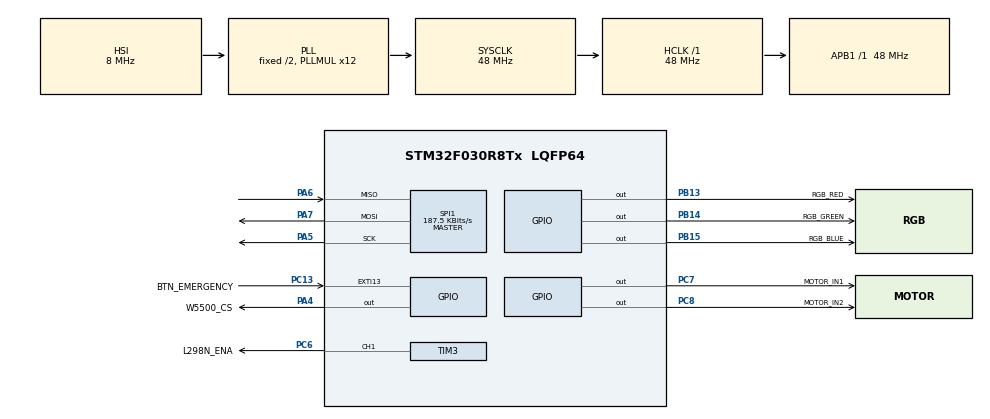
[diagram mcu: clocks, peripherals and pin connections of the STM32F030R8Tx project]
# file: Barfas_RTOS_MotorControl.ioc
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FREERTOS.Queues01=Queue_NetCmd,3,uint8_t,0,Dynamic,NULL,NULL
FREERTOS.Tasks01=Task_Dispatch,3,128,StartMotorTask,Default,NULL,Dynamic,NULL,NULL;Task_NetComm,0,128,StartNetworkTask,Default,NULL,Dynamic,NULL,NULL;Task_DriveRight,2,128,StartTask03,Default,NULL,Dynamic,NULL,NULL;Task_DriveLeft,-2,128,StartTask04,Default,NULL,Dynamic,NULL,NULL;Task_DriveRamp,2,128,StartTask05,Default,NULL,Dynamic,NULL,NULL
FREERTOS.configTOTAL_HEAP_SIZE=4096
Mcu.Family=STM32F0
Mcu.Name=STM32F030R8Tx
Mcu.Package=LQFP64
NVIC.EXTI4_15_IRQn=true\:3\:0\:false\:false\:true\:true\:true\:true\:true
NVIC.TIM1_BRK_UP_TRG_COM_IRQn=true\:3\:0\:false\:false\:true\:false\:false\:true\:true
NVIC.TimeBase=TIM1_BRK_UP_TRG_COM_IRQn
NVIC.TimeBaseIP=TIM1
PA13.GPIO_Label=TMS
PA13.Mode=Serial_Wire
PA13.Signal=SYS_SWDIO
PA14.GPIO_Label=TCK
PA14.Mode=Serial_Wire
PA14.Signal=SYS_SWCLK
PA4.GPIO_Label=W5500_CS
PA4.PinState=GPIO_PIN_SET
PA4.Signal=GPIO_Output
PA5.Mode=Full_Duplex_Master
PA5.Signal=SPI1_SCK
PA6.Mode=Full_Duplex_Master
PA6.Signal=SPI1_MISO
PA7.Mode=Full_Duplex_Master
PA7.Signal=SPI1_MOSI
PB13.GPIO_Label=RGB_RED
PB13.Signal=GPIO_Output
PB14.GPIO_Label=RGB_GREEN
PB14.Signal=GPIO_Output
PB15.GPIO_Label=RGB_BLUE
PB15.GPIO_Speed=GPIO_SPEED_FREQ_HIGH
PB15.Signal=GPIO_Output
PC13.GPIO_Label=BTN_EMERGENCY
PC13.GPIO_ModeDefaultEXTI=GPIO_MODE_IT_FALLING
PC13.GPIO_PuPd=GPIO_PULLUP
PC13.Signal=GPXTI13
PC14-OSC32_IN.Mode=LSE-External-Oscillator
PC14-OSC32_IN.Signal=RCC_OSC32_IN
PC15-OSC32_OUT.Mode=LSE-External-Oscillator
PC15-OSC32_OUT.Signal=RCC_OSC32_OUT
PC6.GPIO_Label=L298N_ENA
PC6.Signal=S_TIM3_CH1
PC7.GPIO_Label=MOTOR_IN1
PC7.GPIO_PuPd=GPIO_PULLDOWN
PC7.Signal=GPIO_Output
PC8.GPIO_Label=MOTOR_IN2
PC8.GPIO_PuPd=GPIO_PULLDOWN
PC8.Signal=GPIO_Output
PF0-OSC_IN.Mode=HSE-External-Clock-Source
PF0-OSC_IN.Signal=RCC_OSC_IN
PF1-OSC_OUT.Signal=RCC_OSC_OUT
ProjectManager.HeapSize=0x200
ProjectManager.StackSize=0x400
ProjectManager.TargetToolchain=STM32CubeIDE
RCC.AHBFreq_Value=48000000
RCC.APB1Freq_Value=48000000
RCC.APB1TimFreq_Value=48000000
RCC.HCLKFreq_Value=48000000
RCC.PLLMUL=RCC_PLL_MUL12
RCC.SYSCLKFreq_VALUE=48000000
RCC.SYSCLKSource=RCC_SYSCLKSOURCE_PLLCLK
SH.S_TIM3_CH1.0=TIM3_CH1,PWM Generation1 CH1
SPI1.BaudRatePrescaler=SPI_BAUDRATEPRESCALER_256
SPI1.CalculateBaudRate=187.5 KBits/s
SPI1.DataSize=SPI_DATASIZE_8BIT
SPI1.Direction=SPI_DIRECTION_2LINES
SPI1.Mode=SPI_MODE_MASTER
SPI1.VirtualType=VM_MASTER
TIM3.Channel-PWM\ Generation1\ CH1=TIM_CHANNEL_1
TIM3.Period=1000-1
TIM3.Prescaler=48-1
VP_FREERTOS_VS_CMSIS_V1.Mode=CMSIS_V1
VP_SYS_VS_tim1.Mode=TIM1
VP_TIM3_VS_ClockSourceINT.Mode=Internal
board=NUCLEO-F030R8

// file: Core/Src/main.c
/* USER CODE BEGIN Header */
/**
 ******************************************************************************
 * @file           : main.c
 * @brief          : Main program body
 ******************************************************************************
 * @attention
 *
 * Copyright (c) 2026 STMicroelectronics.
 * All rights reserved.
 *
 * This software is licensed under terms that can be found in the LICENSE file
 * in the root directory of this software component.
 * If no LICENSE file comes with this software, it is provided AS-IS.
 *
 ******************************************************************************
 */
/* USER CODE END Header */
#include "main.h"
#include "cmsis_os.h"
#include "spi.h"
#include "tim.h"
#include "gpio.h"

void SystemClock_Config(void);
void MX_FREERTOS_Init(void);

int main(void)
{

  /* MCU Configuration--------------------------------------------------------*/

  /* Reset of all peripherals, Initializes the Flash interface and the Systick. */
  HAL_Init();

  /* Configure the system clock */
  SystemClock_Config();

  /* Initialize all configured peripherals */
  MX_GPIO_Init();
  MX_SPI1_Init();
  MX_TIM3_Init();

  /* Call init function for freertos objects (in cmsis_os2.c) */
  MX_FREERTOS_Init();

  /* Start scheduler */
  osKernelStart();

  /* We should never get here as control is now taken by the scheduler */

  /* Infinite loop */
  while (1)
  {

  }
}

void SystemClock_Config(void)
{
  RCC_OscInitTypeDef RCC_OscInitStruct = {0};
  RCC_ClkInitTypeDef RCC_ClkInitStruct = {0};

  /** Initializes the RCC Oscillators according to the specified parameters
  * in the RCC_OscInitTypeDef structure.
  */
  RCC_OscInitStruct.OscillatorType = RCC_OSCILLATORTYPE_HSI;
  RCC_OscInitStruct.HSIState = RCC_HSI_ON;
  RCC_OscInitStruct.HSICalibrationValue = RCC_HSICALIBRATION_DEFAULT;
  RCC_OscInitStruct.PLL.PLLState = RCC_PLL_ON;
  RCC_OscInitStruct.PLL.PLLSource = RCC_PLLSOURCE_HSI;
  RCC_OscInitStruct.PLL.PLLMUL = RCC_PLL_MUL12;
  RCC_OscInitStruct.PLL.PREDIV = RCC_PREDIV_DIV1;
  if (HAL_RCC_OscConfig(&RCC_OscInitStruct) != HAL_OK)
  {
    Error_Handler();
  }

  /** Initializes the CPU, AHB and APB buses clocks
  */
  RCC_ClkInitStruct.ClockType = RCC_CLOCKTYPE_HCLK|RCC_CLOCKTYPE_SYSCLK
                              |RCC_CLOCKTYPE_PCLK1;
  RCC_ClkInitStruct.SYSCLKSource = RCC_SYSCLKSOURCE_PLLCLK;
  RCC_ClkInitStruct.AHBCLKDivider = RCC_SYSCLK_DIV1;
  RCC_ClkInitStruct.APB1CLKDivider = RCC_HCLK_DIV1;

  if (HAL_RCC_ClockConfig(&RCC_ClkInitStruct, FLASH_LATENCY_1) != HAL_OK)
  {
    Error_Handler();
  }
}

void HAL_TIM_PeriodElapsedCallback(TIM_HandleTypeDef *htim)
{
  if (htim->Instance == TIM1)
  {
    HAL_IncTick();
  }
}

void Error_Handler(void)
{
  __disable_irq();
  while (1)
  {
  }
}

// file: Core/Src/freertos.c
/* USER CODE BEGIN Header */
/**
 ******************************************************************************
 * File Name          : freertos.c
 * Description        : Code for freertos applications
 ******************************************************************************
 * @attention
 *
 * Copyright (c) 2026 STMicroelectronics.
 * All rights reserved.
 *
 * This software is licensed under terms that can be found in the LICENSE file
 * in the root directory of this software component.
 * If no LICENSE file comes with this software, it is provided AS-IS.
 *
 ******************************************************************************
 */
/* USER CODE END Header */

#include "FreeRTOS.h"
#include "task.h"
#include "main.h"
#include "cmsis_os.h"

/* USER CODE BEGIN Includes */
#include "network_interface.h" //kullanıcı kütüphanesi
#include "user_spi_w5500.h"    //Kullanıcı kütüphanesi
#include "motor_driver.h"      //kullanıcı kütüphanesi
#include "task_manager.h"      //kullanıcı kütüphanesi
/* USER CODE END Includes */

osThreadId Task_DispatchHandle;
osThreadId Task_NetCommHandle;
osThreadId Task_DriveRightHandle;
osThreadId Task_DriveLeftHandle;
osThreadId Task_DriveRampHandle;
osMessageQId Queue_NetCmdHandle;

void StartMotorTask(void const *argument);
void StartNetworkTask(void const *argument);
void StartTask03(void const *argument);
void StartTask04(void const *argument);
void StartTask05(void const *argument);

void MX_FREERTOS_Init(void); /* (MISRA C 2004 rule 8.1) */

/* GetIdleTaskMemory prototype (linked to static allocation support) */
void vApplicationGetIdleTaskMemory(StaticTask_t **ppxIdleTaskTCBBuffer, StackType_t **ppxIdleTaskStackBuffer, uint32_t *pulIdleTaskStackSize);

/* USER CODE BEGIN GET_IDLE_TASK_MEMORY */
static StaticTask_t xIdleTaskTCBBuffer;
static StackType_t xIdleStack[configMINIMAL_STACK_SIZE];

void vApplicationGetIdleTaskMemory(StaticTask_t **ppxIdleTaskTCBBuffer, StackType_t **ppxIdleTaskStackBuffer, uint32_t *pulIdleTaskStackSize)
{
  *ppxIdleTaskTCBBuffer = &xIdleTaskTCBBuffer;
  *ppxIdleTaskStackBuffer = &xIdleStack[0];
  *pulIdleTaskStackSize = configMINIMAL_STACK_SIZE;
  /* place for user code */
}
/* USER CODE END GET_IDLE_TASK_MEMORY */

void MX_FREERTOS_Init(void)
{

  /* Create the queue(s) */
  /* definition and creation of Queue_NetCmd */
  osMessageQDef(Queue_NetCmd, 3, uint8_t);
  Queue_NetCmdHandle = osMessageCreate(osMessageQ(Queue_NetCmd), NULL);

  /* Create the thread(s) */
  /* definition and creation of Task_Dispatch */
  osThreadDef(Task_Dispatch, StartMotorTask, osPriorityRealtime, 0, 128);
  Task_DispatchHandle = osThreadCreate(osThread(Task_Dispatch), NULL);

  /* definition and creation of Task_NetComm */
  osThreadDef(Task_NetComm, StartNetworkTask, osPriorityNormal, 0, 128);
  Task_NetCommHandle = osThreadCreate(osThread(Task_NetComm), NULL);

  /* definition and creation of Task_DriveRight */
  osThreadDef(Task_DriveRight, StartTask03, osPriorityHigh, 0, 128);
  Task_DriveRightHandle = osThreadCreate(osThread(Task_DriveRight), NULL);

  /* definition and creation of Task_DriveLeft */
  osThreadDef(Task_DriveLeft, StartTask04, osPriorityLow, 0, 128);
  Task_DriveLeftHandle = osThreadCreate(osThread(Task_DriveLeft), NULL);

  /* definition and creation of Task_DriveRamp */
  osThreadDef(Task_DriveRamp, StartTask05, osPriorityHigh, 0, 128);
  Task_DriveRampHandle = osThreadCreate(osThread(Task_DriveRamp), NULL);

}

void StartMotorTask(void const *argument)
{
  /* USER CODE BEGIN StartMotorTask */

  // Motorun initialize fonksiyonudur
  Motor_Init();

  /* Infinite loop */
  for (;;)
  {
    // Motor görevini işle
    TaskManager_Dispatch_Process();
    osDelay(10);
  }
  /* USER CODE END StartMotorTask */
}

void StartNetworkTask(void const *argument)
{
  /* USER CODE BEGIN StartNetworkTask */

  // W5500 modulunun wiznet kutuphanesine göre initialize fonksiyonudur
  W5500_Hardware_Init();

  // Ağ donanımının statik IP ve MAC ayarlarını yükle
  Network_Init();

  // --- SAĞLAMA TESTİ EKLENTİSİ ---
  wiz_NetInfo read_info;
  wizchip_getnetinfo(&read_info);

  /* Infinite loop */
  for (;;)
  {

    // Client modu
    Network_AppClient();

    osDelay(1);
  }
  /* USER CODE END StartNetworkTask */
}

void StartTask03(void const *argument)
{
  /* USER CODE BEGIN StartTask03 */
  /* Infinite loop */
  for (;;)
  {
    TaskManager_DriveRight_Process(); // sağ yön
    osDelay(10);
  }
  /* USER CODE END StartTask03 */
}

void StartTask04(void const *argument)
{
  /* USER CODE BEGIN StartTask04 */
  /* Infinite loop */
  for (;;)
  {
    TaskManager_DriveLeft_Process(); // sol yön
    osDelay(50);
  }
  /* USER CODE END StartTask04 */
}

void StartTask05(void const *argument)
{
  /* USER CODE BEGIN StartTask05 */
  /* Infinite loop */
  for (;;)
  {
    TaskManager_DriveRamp_Process(); // rampalı sürüs ve blink
    osDelay(10);
  }
  /* USER CODE END StartTask05 */
}
